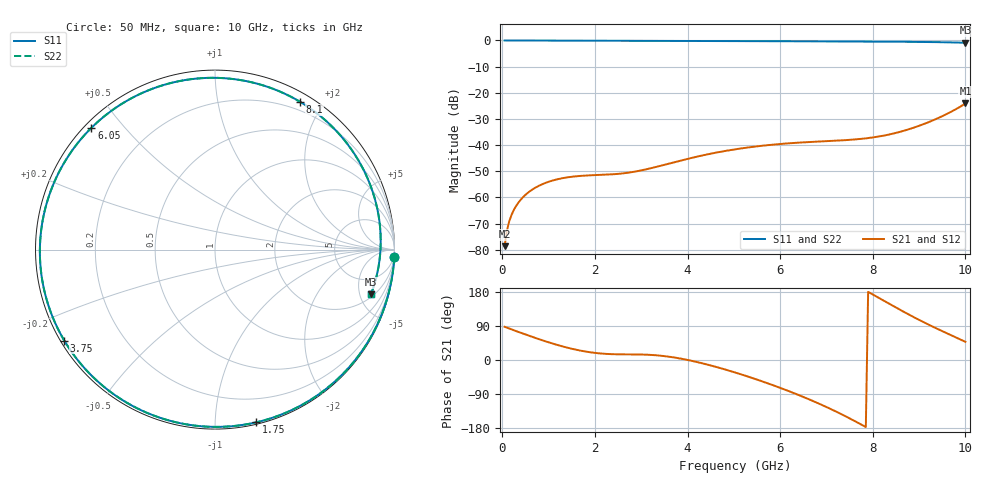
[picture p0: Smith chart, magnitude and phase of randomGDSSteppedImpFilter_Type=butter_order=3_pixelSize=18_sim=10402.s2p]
! freq	dB(S11)	phase(S11)	dB(S12)	phase(S12)
!  dB(S21)	phase(S21)	dB(S22)	phase(S22)
!S-par simulation data
#  GHz  S  DB  R 50
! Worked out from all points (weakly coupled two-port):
!   200 points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, 50 MHz to 10 GHz, reference 50 ohm
!   highest |S21| = -24.09 dB at 10 GHz (marker M1); lowest = -78.6 dB at 50 MHz (marker M2)
!   lowest |S11| = -0.9 dB at 10 GHz (marker M3), VSWR 19.75, Z = 116 - j315 ohm
!   |S11| at or under -10 dB: nowhere
!   |S22| runs from -0.9 to 0.0 dB; largest |S21 - S12| = 0
!   S11 on the Smith chart (normalised r, x): 50 MHz: 0, -49; 1.75 GHz: 0.01, -1.27; 3.75 GHz: 0.01, -0.28; 6.05 GHz: 0.02, +0.41; 8.1 GHz: 0.10, +1.72; 10 GHz: 2.33, -6.30
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0.05  -0.00 -2.3  -78.60 87.7  -78.60 87.7  -0.00 -2.3
0.1  -0.00 -4.6  -72.59 85.4  -72.59 85.4  -0.00 -4.6
0.2  -0.01 -9.2  -66.62 80.7  -66.62 80.7  -0.01 -9.2
0.35  -0.02 -16.0  -61.90 74.0  -61.90 74.0  -0.02 -16.0
0.5  -0.03 -22.8  -58.99 67.4  -58.99 67.4  -0.03 -22.8
1  -0.06 -45.0  -54.00 46.7  -54.00 46.7  -0.06 -45.0
1.75  -0.09 -76.5  -51.67 23.4  -51.67 23.4  -0.09 -76.5
2.5  -0.12 -105.4  -50.98 15.0  -50.98 15.0  -0.12 -105.4
3.4  -0.15 -137.2  -47.97 11.6  -47.97 11.6  -0.15 -137.2
3.75  -0.17 -148.9  -46.36 5.9  -46.36 5.9  -0.17 -148.9
4.4  -0.20 -170.2  -43.63 -11.2  -43.63 -11.2  -0.20 -170.2
5.05  -0.23 168.7  -41.54 -33.8  -41.54 -33.8  -0.23 168.7
5.55  -0.26 152.3  -40.35 -53.8  -40.35 -53.8  -0.26 152.3
6.05  -0.29 135.4  -39.49 -75.7  -39.49 -75.7  -0.29 135.4
6.7  -0.34 112.7  -38.75 -107.7  -38.75 -107.7  -0.34 112.7
7.4  -0.39 87.0  -38.10 -147.8  -38.10 -147.8  -0.39 87.0
8.1  -0.44 60.1  -36.79 166.1  -36.79 166.1  -0.44 60.1
8.35  -0.47 50.2  -35.95 148.8  -35.95 148.8  -0.47 50.2
8.8  -0.53 32.3  -33.81 118.6  -33.81 118.6  -0.53 32.3
9.2  -0.60 16.3  -31.26 93.6  -31.26 93.6  -0.60 16.3
9.6  -0.71 0.2  -28.08 70.6  -28.08 70.6  -0.70 0.2
10  -0.88 -15.9  -24.09 48.0  -24.09 48.0  -0.88 -15.9
